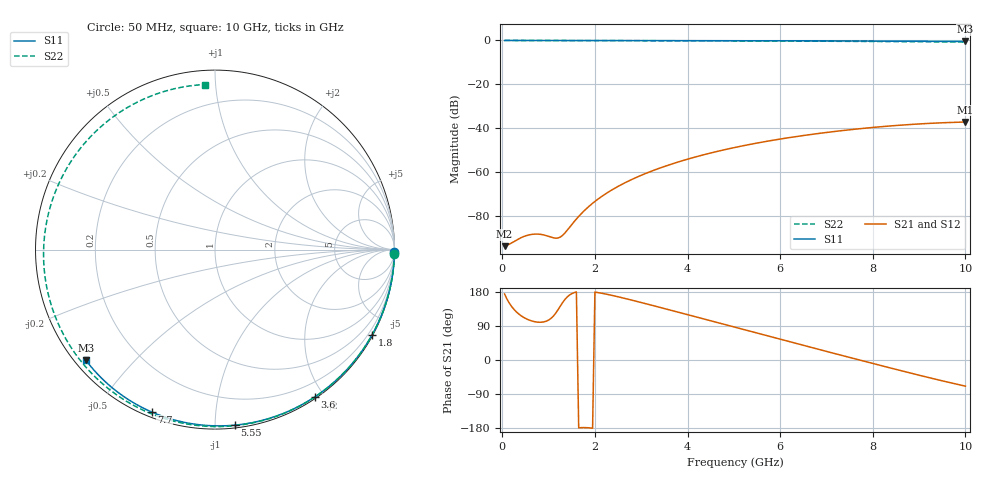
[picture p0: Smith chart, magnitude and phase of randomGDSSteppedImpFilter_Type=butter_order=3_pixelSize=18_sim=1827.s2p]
! freq	dB(S11)	phase(S11)	dB(S12)	phase(S12)
!  dB(S21)	phase(S21)	dB(S22)	phase(S22)
!S-par simulation data
#  GHz  S  DB  R 50
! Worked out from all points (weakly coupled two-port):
!   200 points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, 50 MHz to 10 GHz, reference 50 ohm
!   highest |S21| = -37.17 dB at 10 GHz (marker M1); lowest = -93.7 dB at 50 MHz (marker M2)
!   lowest |S11| = -0.5 dB at 10 GHz (marker M3), VSWR 36.86, Z = 1.54 - j18.4 ohm
!   |S11| at or under -10 dB: nowhere
!   |S22| runs from -0.7 to 0.0 dB; largest |S21 - S12| = 0
!   S11 on the Smith chart (normalised r, x): 50 MHz: open; 1.8 GHz: 0.03, -3.91; 3.6 GHz: 0.02, -1.88; 5.55 GHz: 0.02, -1.12; 7.7 GHz: 0.02, -0.68; 10 GHz: 0.03, -0.37
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0.05  -0.00 -0.8  -93.74 174.2  -93.74 174.2  -0.00 -1.3
0.8  -0.01 -12.9  -88.29 99.6  -88.29 99.6  -0.02 -20.1
1.65  -0.03 -26.3  -80.18 -179.2  -80.18 -179.2  -0.05 -41.0
1.75  -0.04 -27.9  -77.98 -178.3  -77.98 -178.3  -0.06 -43.5
1.8  -0.04 -28.7  -76.96 -178.4  -76.96 -178.4  -0.06 -44.7
2.1  -0.04 -33.3  -71.77 177.2  -71.77 177.2  -0.07 -51.9
2.45  -0.05 -38.7  -67.08 168.2  -67.08 168.2  -0.08 -60.3
2.9  -0.06 -45.6  -62.35 154.8  -62.35 154.8  -0.09 -70.9
3.4  -0.07 -53.0  -58.16 139.0  -58.16 139.0  -0.11 -82.5
3.6  -0.08 -56.0  -56.71 132.6  -56.71 132.6  -0.12 -87.1
4.3  -0.09 -66.1  -52.35 110.0  -52.35 110.0  -0.15 -103.1
5.05  -0.12 -76.6  -48.63 85.6  -48.63 85.6  -0.19 -120.3
5.55  -0.14 -83.5  -46.56 69.3  -46.56 69.3  -0.22 -131.8
6.15  -0.16 -91.5  -44.42 49.9  -44.42 49.9  -0.27 -146.0
6.7  -0.19 -98.7  -42.74 32.2  -42.74 32.2  -0.32 -159.5
7.2  -0.22 -105.1  -41.41 16.3  -41.41 16.3  -0.37 -172.4
7.7  -0.25 -111.3  -40.25 0.4  -40.25 0.4  -0.43 173.8
8.35  -0.31 -119.4  -39.00 -20.1  -39.00 -20.1  -0.51 154.3
8.75  -0.34 -124.3  -38.37 -32.5  -38.37 -32.5  -0.56 141.1
9.15  -0.38 -129.2  -37.86 -44.7  -37.86 -44.7  -0.61 127.0
9.6  -0.43 -134.7  -37.43 -57.8  -37.43 -57.8  -0.67 109.9
10  -0.47 -139.5  -37.17 -69.0  -37.17 -69.0  -0.71 93.5
